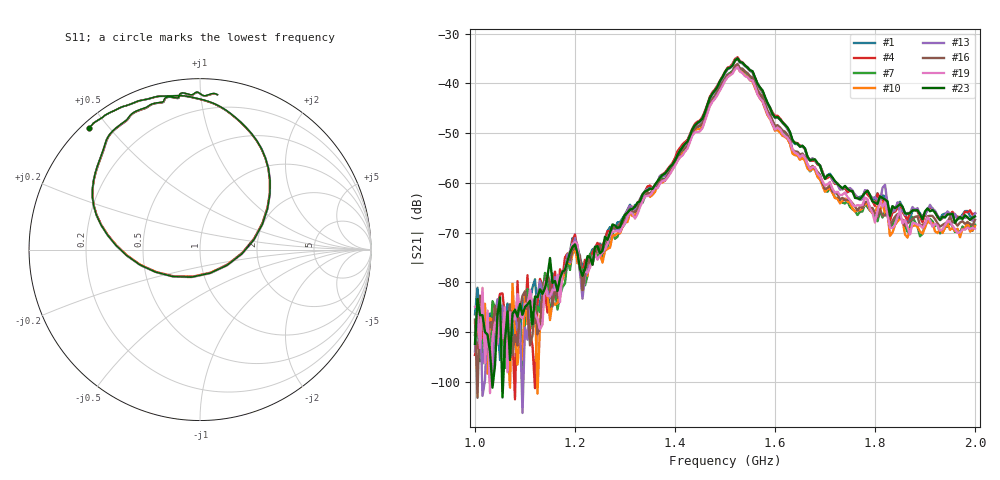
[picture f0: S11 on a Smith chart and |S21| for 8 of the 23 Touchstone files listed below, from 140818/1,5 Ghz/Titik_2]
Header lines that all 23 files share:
# Hz S RI R 50
! CMT, C1220, 16058040, 17.2.0/1
! Data: Format (Calibration Info)
! Freq  S11: Re/Im (F2)  S21: Re/Im (F2)  S12: Re/Im (F2)  S22: Re/Im (F2)
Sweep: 1 GHz to 2 GHz
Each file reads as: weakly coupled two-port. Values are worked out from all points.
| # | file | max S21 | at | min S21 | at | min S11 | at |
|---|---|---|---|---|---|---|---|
| 1 | Sudut_0_Titik_2.s2p | -35.01 dB | 1.525 GHz | -96.4 dB | 1.015 GHz | -16.5 dB | 1.53 GHz |
| 2 | Sudut_10_Titik_2.s2p | -34.66 dB | 1.525 GHz | -99.5 dB | 1.02 GHz | -16.6 dB | 1.53 GHz |
| 3 | Sudut_20_Titik_2.s2p | -34.58 dB | 1.525 GHz | -105.1 dB | 1.1 GHz | -16.6 dB | 1.53 GHz |
| 4 | Sudut_30_Titik_2.s2p | -34.74 dB | 1.525 GHz | -103.5 dB | 1.08 GHz | -16.6 dB | 1.53 GHz |
| 5 | Sudut_40_Titik_2.s2p | -34.93 dB | 1.525 GHz | -97.3 dB | 1.065 GHz | -16.6 dB | 1.53 GHz |
| 6 | Sudut_50_Titik_2.s2p | -35.34 dB | 1.525 GHz | -99.7 dB | 1.095 GHz | -16.5 dB | 1.53 GHz |
| 7 | Sudut_70_Titik_2.s2p | -36.21 dB | 1.525 GHz | -97.8 dB | 1.095 GHz | -16.3 dB | 1.53 GHz |
| 8 | Sudut_80_Titik_2.s2p | -36.52 dB | 1.525 GHz | -98.5 dB | 1.03 GHz | -16.3 dB | 1.53 GHz |
| 9 | Sudut_100_Titik_2.s2p | -36.60 dB | 1.525 GHz | -99.0 dB | 1.075 GHz | -16.6 dB | 1.53 GHz |
| 10 | Sudut_110_Titik_2.s2p | -36.49 dB | 1.525 GHz | -102.4 dB | 1.125 GHz | -16.7 dB | 1.53 GHz |
| 11 | Sudut_130_Titik_2.s2p | -36.18 dB | 1.525 GHz | -105.8 dB | 1.01 GHz | -16.5 dB | 1.53 GHz |
| 12 | Sudut_150_Titik_2.s2p | -35.51 dB | 1.525 GHz | -124.8 dB | 1.015 GHz | -16.4 dB | 1.53 GHz |
| 13 | Sudut_170_Titik_2.s2p | -35.05 dB | 1.525 GHz | -106.3 dB | 1.095 GHz | -16.5 dB | 1.53 GHz |
| 14 | Sudut_200_Titik_2.s2p | -35.30 dB | 1.525 GHz | -98.1 dB | 1.09 GHz | -16.7 dB | 1.53 GHz |
| 15 | Sudut_210_Titik_2.s2p | -35.60 dB | 1.525 GHz | -108.1 dB | 1.09 GHz | -16.7 dB | 1.53 GHz |
| 16 | Sudut_220_Titik_2.s2p | -36.08 dB | 1.525 GHz | -103.2 dB | 1.005 GHz | -16.6 dB | 1.53 GHz |
| 17 | Sudut_260_Titik_2.s2p | -37.02 dB | 1.525 GHz | -102.5 dB | 1.095 GHz | -16.7 dB | 1.53 GHz |
| 18 | Sudut_290_Titik_2.s2p | -36.95 dB | 1.525 GHz | -116.5 dB | 1.04 GHz | -16.7 dB | 1.53 GHz |
| 19 | Sudut_320_Titik_2.s2p | -36.71 dB | 1.525 GHz | -102.3 dB | 1.03 GHz | -16.3 dB | 1.53 GHz |
| 20 | Sudut_330_Titik_2.s2p | -36.28 dB | 1.525 GHz | -106.4 dB | 1.03 GHz | -16.3 dB | 1.53 GHz |
| 21 | Sudut_340_Titik_2.s2p | -35.85 dB | 1.525 GHz | -97.7 dB | 1 GHz | -16.3 dB | 1.53 GHz |
| 22 | Sudut_350_Titik_2.s2p | -35.37 dB | 1.525 GHz | -110.3 dB | 1.085 GHz | -16.4 dB | 1.53 GHz |
| 23 | Sudut_360_Titik_2.s2p | -34.96 dB | 1.525 GHz | -103.2 dB | 1.055 GHz | -16.5 dB | 1.53 GHz |
